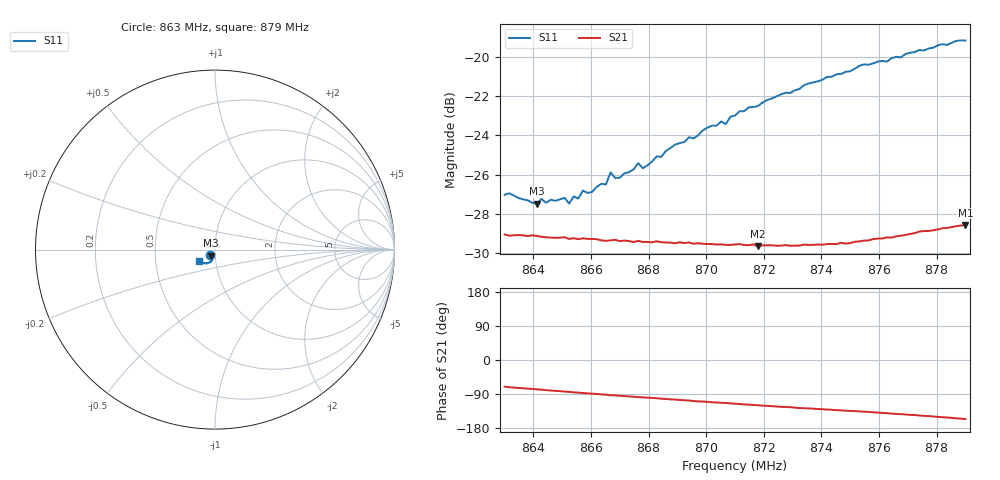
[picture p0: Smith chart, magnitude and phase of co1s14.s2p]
# HZ S RI R 50
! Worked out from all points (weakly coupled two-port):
!   101 points, 863 MHz to 879 MHz, reference 50 ohm
!   highest |S21| = -28.56 dB at 879 MHz (marker M1); lowest = -29.6 dB at 871.8 MHz (marker M2)
!   lowest |S11| = -27.5 dB at 864.12 MHz (marker M3), VSWR 1.09, Z = 47.5 - j3.29 ohm
!   |S11| at or under -10 dB: start of sweep to end of sweep
!   S12 and S22 are empty: the file has one direction only
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8.63e8  -0.0301 -0.0329  0.0118 -0.0332  0 0  0 0
8.6412e8  -0.0242 -0.0346  0.00766 -0.0341  0 0  0 0
8.6428e8  -0.0228 -0.037  0.00698 -0.0341  0 0  0 0
8.6444e8  -0.0218 -0.0364  0.00631 -0.0341  0 0  0 0
8.6508e8  -0.0193 -0.0393  0.00408 -0.0345  0 0  0 0
8.6524e8  -0.0198 -0.0374  0.00353 -0.0342  0 0  0 0
8.6572e8  -0.0177 -0.0421  0.0018 -0.0344  0 0  0 0
8.6604e8  -0.0165 -0.0422  0.000714 -0.0343  0 0  0 0
8.6652e8  -0.0156 -0.0447  -0.000936 -0.034  0 0  0 0
8.6668e8  -0.0192 -0.047  -0.00178 -0.034  0 0  0 0
8.67e8  -0.0158 -0.0466  -0.00257 -0.0338  0 0  0 0
8.6764e8  -0.0164 -0.0511  -0.00474 -0.0336  0 0  0 0
8.678e8  -0.0155 -0.0497  -0.00495 -0.0334  0 0  0 0
8.6844e8  -0.0155 -0.0535  -0.00712 -0.033  0 0  0 0
8.6892e8  -0.0166 -0.0574  -0.00832 -0.0324  0 0  0 0
8.7052e8  -0.0218 -0.0649  -0.013 -0.0306  0 0  0 0
8.7068e8  -0.0204 -0.0643  -0.0132 -0.0304  0 0  0 0
8.71e8  -0.0233 -0.067  -0.0142 -0.0301  0 0  0 0
8.718e8  -0.0278 -0.0697  -0.0162 -0.0286  0 0  0 0
8.7372e8  -0.0407 -0.076  -0.0206 -0.026  0 0  0 0
8.7644e8  -0.0661 -0.0742  -0.0271 -0.0216  0 0  0 0
8.79e8  -0.0911 -0.062  -0.034 -0.0152  0 0  0 0
